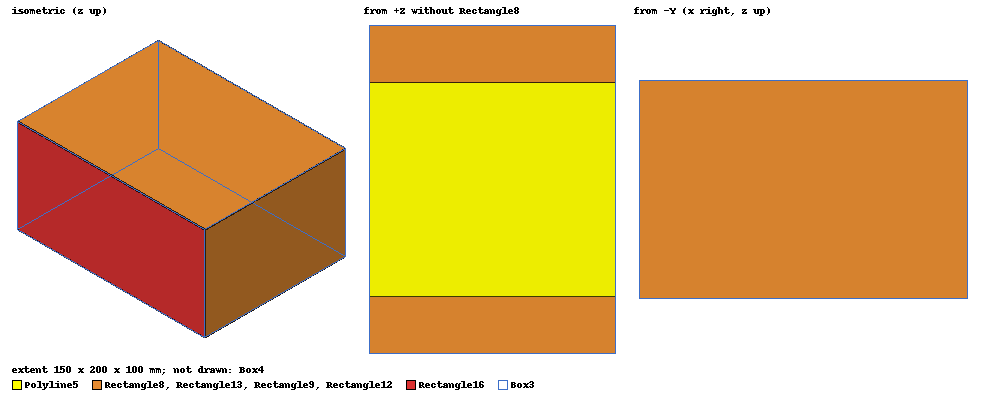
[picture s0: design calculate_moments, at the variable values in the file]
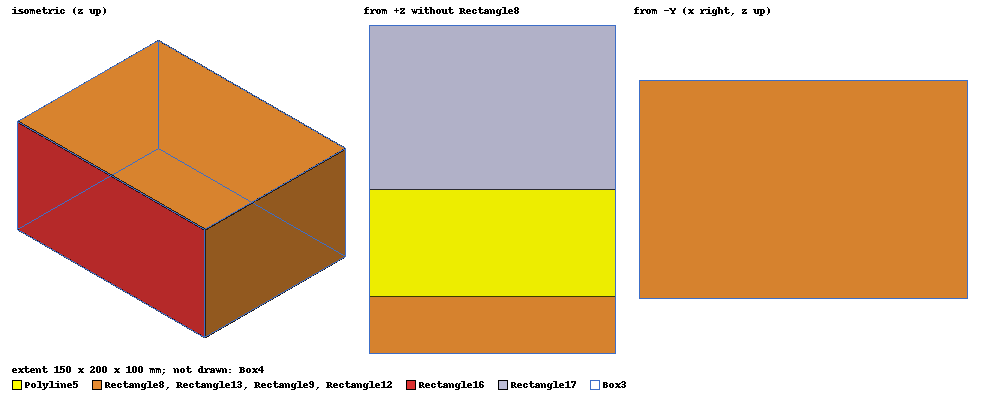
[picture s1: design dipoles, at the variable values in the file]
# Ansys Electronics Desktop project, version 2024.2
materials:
  copper: permeability=0.999991 conductivity=58000000
  pec: conductivity=1e+30
  vacuum: permittivity=1

design inverted_F_antenna (HFSS, HFSS Terminal Network, model units mm)
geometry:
  Rectangle7 = rectangle(corner=(-45mm, 0mm, 0mm), z_size=-50mm, x_size=95mm)
  Rectangle8 = rectangle(corner=(75mm, 100mm, 0mm), x_size=-150mm, y_size=-200mm)
  Rectangle9 = rectangle(corner=(75mm, 100mm, -100mm), z_size=100mm, x_size=-150mm)
  Rectangle10 = rectangle(corner=(-75mm, 100mm, -100mm), y_size=-200mm, z_size=100mm)
  Rectangle11 = rectangle(corner=(75mm, 100mm, 0mm), y_size=-200mm, z_size=-100mm)
  Rectangle12 = rectangle(corner=(75mm, -100mm, -100mm), z_size=100mm, x_size=-150mm)
  Rectangle13 = rectangle(corner=(75mm, 100mm, -100mm), x_size=-150mm, y_size=-200mm)
  coordinate_system RelativeCS1 = origin=(0mm, 0mm, 50mm) x=(1mm, 0mm, 0mm) y=(0mm, 1mm, 0mm)
  Polyline5 [copper] = polyline((0mm, 35mm, 0mm) (0mm, 165mm, 0mm)) in RelativeCS1
  Polyline5.sweep_along_vector((300mm, 0mm, 0mm)) in RelativeCS1
  Polyline5.sweep_along_vector((0mm, 0mm, 1mm)) in RelativeCS1
  Polyline5.move(0mm, 0mm, -0.5mm) in RelativeCS1
  Polyline5.scale(0.5, 1, 1) in RelativeCS1
  Polyline5.move(-75mm, -100mm, -100mm)
  Rectangle14 = rectangle(corner=(75mm, 35mm, 0.5mm), y_size=130mm, z_size=49.5mm) in RelativeCS1
  Rectangle14.move(-75mm, -100mm, -100mm)
  Rectangle15 = rectangle(corner=(0mm, 200mm, -50mm), y_size=-200mm, z_size=100mm) in RelativeCS1
  Rectangle15.move(-75mm, -100mm, -100mm)
  Rectangle16 = rectangle(corner=(150mm, 200mm, -50mm), y_size=-200mm, z_size=100mm) in RelativeCS1
  Rectangle16.move(-75mm, -100mm, -100mm)
  coordinate_system RelativeCS3 = origin=(75mm, 165mm, 50mm) x=(1mm, 0mm, 0mm) y=(0mm, 1mm, 0mm) in RelativeCS1
  coordinate_system RelativeCS4 = origin=(0mm, -65mm, 0mm) x=(1mm, 0mm, 0mm) y=(0mm, 1mm, 0mm) in RelativeCS3
  coordinate_system RelativeCS6 = origin=(-7.9906568mm, -0.2mm, -4.9954624mm) x=(1mm, 0mm, 0mm) y=(0mm, 1mm, 0mm) in RelativeCS4
  Polyline6 = polyline(xyz in mm: (0, 0, 2.6607784) (-0.0011431925, 0, 3.9358706) (-0.0011431925, 0.1, 3.9358706) (0, 0.1, 2.6607784) (0, 0, 2.6607784), closed, covered) in RelativeCS6
  coordinate_system RelativeCS9 = origin=(-75mm, 100mm, -100mm) x=(1mm, 0mm, 0mm) y=(0mm, 1mm, 0mm)
  coordinate_system RelativeCS10 = origin=(0mm, 0mm, -60mm) x=(1mm, 0mm, 0mm) y=(0mm, 1mm, 0mm) in RelativeCS9
  Box4 [vacuum] = box(corner=(0mm, 0mm, 0mm), size=(150mm, -200mm, 220mm)) in RelativeCS10
  Box4.scale(1, 1.5, 1) in RelativeCS10
  Box4.move(0mm, 50mm, 0mm) in RelativeCS10
  coordinate_system RelativeCS11 = origin=(150mm, 0mm, 60mm) x=(1mm, 0mm, 0mm) y=(0mm, 1mm, 0mm) in RelativeCS10
  coordinate_system RelativeCS12 = origin=(0mm, -35mm, 50.5mm) x=(1mm, 0mm, 0mm) y=(0mm, 1mm, 0mm) in RelativeCS11
  Polyline7 = polyline((0mm, -65mm, 0mm) (0mm, -65mm, 49.5mm)) in RelativeCS12
  Polyline7_1 = Polyline7.duplicate_along_line(step=(-150mm, 0mm, 0mm), total=2) in RelativeCS12
  coordinate_system RelativeCS13 = origin=(-75mm, 100mm, -100mm) x=(1mm, 0mm, 0mm) y=(0mm, 1mm, 0mm)
  coordinate_system RelativeCS14 = origin=(0mm, 0mm, -60mm) x=(1mm, 0mm, 0mm) y=(0mm, 1mm, 0mm) in RelativeCS13
  Cylinder4 = cylinder(axis=Z, base_centre=(75mm, -165.1mm, 159.95mm), radius=0.14142136mm, height=0.05mm)
  Cylinder4.move(0.041421356mm, 65.1mm, 0mm)
  Cylinder4.move(-0.041421356mm, -0.24142136mm, 0mm)
  coordinate_system RelativeCS16 = origin=(235mm, 130mm, 0mm) x=(1mm, 0mm, 0mm) y=(0mm, 1mm, 0mm)
  coordinate_system RelativeCS15 = origin=(-85mm, -165mm, 110.5mm) x=(1mm, 0mm, 0mm) y=(0mm, 1mm, 0mm) in RelativeCS16
  Cylinder4.move(1.2414214mm, 0.24142136mm, 2.8421709e-14mm) in RelativeCS15
  Cylinder4.move(-1.2414214mm, 0mm, 0mm) in RelativeCS15
  Cylinder4.move(-75.1mm, 100mm, -160.05mm)
  Cylinder4.move(0.1mm, 0mm, 0.05mm)
  Cylinder5 = cylinder(axis=Z, base_centre=(1mm, 0mm, -0.05mm), radius=0.1mm, height=0.05mm)
  Cylinder6 = cylinder(axis=Z, base_centre=(1mm, 0mm, -0.05mm), radius=0.1mm, height=-1.35mm)
  Cylinder6_1 [copper] = Cylinder6.duplicate_along_line(step=(-1mm, 0mm, -5.4033167e-14mm), total=2)
  coordinate_system RelativeCS17 = origin=(0mm, 0mm, -1.4mm) x=(1mm, 0mm, 0mm) y=(0mm, 1mm, 0mm)
  Cylinder7 = cylinder(axis=X, base_centre=(-0.1mm, 0mm, 0mm), radius=0.1mm, height=3.7mm) in RelativeCS17
  Cylinder6_1.unite(Cylinder6, Cylinder7, Cylinder4, Cylinder5)
  coordinate_system RelativeCS18 = origin=(1mm, 0mm, -0.15mm) x=(1mm, 0mm, 0mm) y=(0mm, 1mm, 0mm) in RelativeCS17
  coordinate_system RelativeCS19 = origin=(-1mm, 0mm, 1.55mm) x=(1mm, 0mm, 0mm) y=(0mm, 1mm, 0mm) in RelativeCS18
  Circle1 = circle(normal=Z, centre=(1mm, 0mm, -1.55mm), radius=0.2mm) in RelativeCS19
  Rectangle8.subtract(Circle1)
  Circle2 = circle(normal=Z, centre=(1mm, 0mm, -1.55mm), radius=0.2mm) in RelativeCS19
  Rectangle8.subtract(Circle2)
  Cylinder8 = cylinder(axis=Z, base_centre=(1mm, 0mm, 0mm), radius=0.1mm, height=0.1mm) in RelativeCS19
  Rectangle8.subtract(Cylinder8)
  Cylinder9 = cylinder(axis=Z, base_centre=(1mm, 0mm, 0mm), radius=0.2mm, height=4.5mm) in RelativeCS19
  Rectangle8.subtract(Cylinder9)
  Circle3 = circle(normal=Z, centre=(1mm, 0mm, 0mm), radius=0.1mm) in RelativeCS19
  Circle4 = circle(normal=Z, centre=(1mm, 0mm, 0mm), radius=0.2mm) in RelativeCS19
  Circle4.subtract(Circle3)
  pecCap1 [pec] = object_from(Circle4.edge(at (0.8, 0, 0)))
  pecCap1.thicken(0.05mm)
  point Point1 = (-75mm, 0mm, -24.75mm) in RelativeCS19
  coordinate_system RelativeCS20 = origin=(-4.8mm, 0mm, 0mm) x=(1mm, 0mm, 0mm) y=(0mm, 1mm, 0mm) in RelativeCS19
  coordinate_system RelativeCS21 = origin=(4.8mm, 0mm, 0mm) x=(1mm, 0mm, 0mm) y=(0mm, 1mm, 0mm) in RelativeCS20
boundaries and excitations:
  PerfE1: Perfect E Objects=[Rectangle13, Rectangle12, Rectangle8, Rectangle9]
  Rad1: Radiation Objects=Box4
  1: Wave Port Objects=Rectangle15 WavePortType=Modal NumModes=2 Modes{Mode1{IntLine{(-75, 0, -49.5) -> (-75, 0, 0)} CharImp=Zpi} Mode2{IntLine{(-75, -65, -50) -> (-75, -100, -50)} CharImp=Zpi}}
  2: Wave Port Objects=Rectangle16 WavePortType=Modal NumModes=2 Modes{Mode1{IntLine{(75, 0, -49.5) -> (75, 0, 0)} CharImp=Zpi} Mode2{IntLine{(75, -65, -50) -> (75, -100, -50)} CharImp=Zpi}}
  3: Wave Port Objects=Circle4 WavePortType=Modal NumModes=1 Modes{Mode1{IntLine{(1.1, 0, 0) -> (1.2, 0, 0)} CharImp=Zpi}}
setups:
  550MHz: HfssDrivenAuto AutoSolverSetting=Balanced Type=Interpolating
    sweep Sweep: 0GHz to 1GHz, 501 points;
  760MHz: HfssDriven Frequency=760MHz MaxDeltaS=0.02 MaximumPasses=6 MinimumPasses=1 MinimumConvergedPasses=1 PercentRefinement=30 BasisOrder=1 PortAccuracy=2 DrivenSolverType="Direct Solver"
    sweep Sweep: 0MHz to 1000MHz, 501 points; Type=Interpolating SaveFields InterpTolerance=0.5 InterpMaxSolns=250 MinSolvedFreq=0.01GHz PassivityErrorTolerance=0.0001
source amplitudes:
  1:1, 2:1: 0W 0deg
  1:2, 2:2: 0V 0deg
  3:1: (10000000*0.85) W 0deg
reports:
  Antenna coupling waveport 1: dB(St(3,1:1)), dB(St(3,1:2)) vs Freq on 760MHz : Sweep; markers MX1 at x=5.4979447e+08
  Antenna coupling waveport 2: dB(St(3,2:1)), dB(St(3,2:2)) vs Freq on 550MHz : Sweep; markers m1 at 0.74GHz, m2 at 0.748GHz, MX1 at x=5.498366e+08

design calculate_moments (HFSS, HFSS Terminal Network, model units mm)
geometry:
  coordinate_system RelativeCS8 = origin=(8.1906568mm, 0.2mm, 0.04546245mm) x=(1mm, 0mm, 0mm) y=(0mm, 1mm, 0mm)
  Rectangle7 = rectangle(corner=(-45mm, 0mm, 0mm), z_size=-50mm, x_size=95mm) in RelativeCS8
  Rectangle8 = rectangle(corner=(75mm, 100mm, 0mm), x_size=-150mm, y_size=-200mm) in RelativeCS8
  Rectangle9 = rectangle(corner=(75mm, 100mm, -100mm), z_size=100mm, x_size=-150mm) in RelativeCS8
  Rectangle10 = rectangle(corner=(-75mm, 100mm, -100mm), y_size=-200mm, z_size=100mm) in RelativeCS8
  Rectangle11 = rectangle(corner=(75mm, 100mm, 0mm), y_size=-200mm, z_size=-100mm) in RelativeCS8
  Rectangle12 = rectangle(corner=(75mm, -100mm, -100mm), z_size=100mm, x_size=-150mm) in RelativeCS8
  Rectangle13 = rectangle(corner=(75mm, 100mm, -100mm), x_size=-150mm, y_size=-200mm) in RelativeCS8
  Box3 [vacuum] = box(corner=(0mm, 0mm, 0mm), size=(300mm, 200mm, 100mm)) in RelativeCS8
  coordinate_system RelativeCS1 = origin=(0mm, 0mm, 50mm) x=(1mm, 0mm, 0mm) y=(0mm, 1mm, 0mm) in RelativeCS8
  Box3.scale(0.5, 1, 1) in RelativeCS1
  Polyline5 [copper] = polyline((0mm, 35mm, 0mm) (0mm, 165mm, 0mm)) in RelativeCS1
  Polyline5.sweep_along_vector((300mm, 0mm, 0mm)) in RelativeCS1
  Polyline5.sweep_along_vector((0mm, 0mm, 1mm)) in RelativeCS1
  Polyline5.move(0mm, 0mm, -0.5mm) in RelativeCS1
  Polyline5.scale(0.5, 1, 1) in RelativeCS1
  Rectangle14 = rectangle(corner=(75mm, 35mm, 0.5mm), y_size=130mm, z_size=49.5mm) in RelativeCS1
  Rectangle15 = rectangle(corner=(0mm, 200mm, -50mm), y_size=-200mm, z_size=100mm) in RelativeCS1
  Rectangle16 = rectangle(corner=(150mm, 200mm, -50mm), y_size=-200mm, z_size=100mm) in RelativeCS1
  coordinate_system RelativeCS3 = origin=(75mm, 165mm, 50mm) x=(1mm, 0mm, 0mm) y=(0mm, 1mm, 0mm) in RelativeCS1
  coordinate_system RelativeCS4 = origin=(0mm, -65mm, 0mm) x=(1mm, 0mm, 0mm) y=(0mm, 1mm, 0mm) in RelativeCS3
  coordinate_system RelativeCS6 = origin=(-7.9906568mm, -0.2mm, -4.9954624mm) x=(1mm, 0mm, 0mm) y=(0mm, 1mm, 0mm) in RelativeCS4
  Polyline6 = polyline(xyz in mm: (0, 0, 2.6607784) (-0.0011431925, 0, 3.9358706) (-0.0011431925, 0.1, 3.9358706) (0, 0.1, 2.6607784) (0, 0, 2.6607784), closed, covered) in RelativeCS6
  [Rectangle14, Rectangle15, Rectangle16, Box3, Polyline5].move(-75mm, -100mm, -100mm) in RelativeCS8
  coordinate_system RelativeCS9 = origin=(-75mm, 100mm, -100mm) x=(1mm, 0mm, 0mm) y=(0mm, 1mm, 0mm) in RelativeCS8
  coordinate_system RelativeCS10 = origin=(0mm, 0mm, -60mm) x=(1mm, 0mm, 0mm) y=(0mm, 1mm, 0mm) in RelativeCS9
  Box4 [vacuum] = box(corner=(0mm, 0mm, 0mm), size=(150mm, -200mm, 220mm)) in RelativeCS10
  Box4.scale(1, 1.5, 1) in RelativeCS10
  Box4.move(0mm, 50mm, 0mm) in RelativeCS10
  coordinate_system RelativeCS11 = origin=(150mm, 0mm, 60mm) x=(1mm, 0mm, 0mm) y=(0mm, 1mm, 0mm) in RelativeCS10
  coordinate_system RelativeCS12 = origin=(0mm, -35mm, 50.5mm) x=(1mm, 0mm, 0mm) y=(0mm, 1mm, 0mm) in RelativeCS11
  Polyline7 = polyline((0mm, -65mm, 0mm) (0mm, -65mm, 49.5mm)) in RelativeCS12
  Polyline7_1 = Polyline7.duplicate_along_line(step=(-150mm, 0mm, 0mm), total=2) in RelativeCS12
  point Point1 = (-75mm, -65mm, 24.75mm) in RelativeCS12
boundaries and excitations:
  PerfE1: Perfect E Objects=[Rectangle13, Rectangle12, Rectangle8, Rectangle9]
  Rad1: Radiation Objects=Box4
  1: Wave Port Objects=Rectangle15 WavePortType=Modal NumModes=1 Modes{Mode1{IntLine{(-66.809343, 0.2, -49.45453755) -> (-66.809343, 0.2, 0.04546245)} CharImp=Zpi}}
  2: Wave Port Objects=Rectangle16 WavePortType=Modal NumModes=1 Modes{Mode1{IntLine{(83.190657, 0.2, -49.45453755) -> (83.190657, 0.2, 0.04546245)} CharImp=Zpi}}
  reference conductors: Rectangle8
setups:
  Setup1: HfssDrivenAuto AutoSolverSetting=Balanced Type=Interpolating
    sweep Sweep: 0GHz to 1GHz, 501 points;
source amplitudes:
  1:1: 1V 0deg
  2:1: 0V 0deg
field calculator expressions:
  U_2 = Complex_Constant(9.89491006303791, 0.019771581817983)
  U_1 = Complex_Constant(-1.62457557524812, -9.88575991314487)
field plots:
  Vector_E1: E Field over Rectangle7.face on Setup1 : LastAdaptive at Freq=0.55GHz Phase=0deg
  Vector_H2: H Field over Rectangle7.face on Setup1 : LastAdaptive at Freq=0.55GHz Phase=0deg
  Vector_E2: E Field over Rectangle14.face(at (8.19066, 0.2, -24.7045)) on Setup1 : LastAdaptive at Freq=0.55GHz Phase=0deg
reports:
  Terminal S Parameter Plot 1: dB(St(1,1)) vs Freq on Setup1 : Sweep
  Terminal S Parameter Plot 2: dB(St(2,1)) vs Freq on Setup1 : Sweep

design dipoles (HFSS, HFSS Terminal Network, model units mm)
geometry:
  coordinate_system RelativeCS8 = origin=(8.1906568mm, 0.2mm, 0.04546245mm) x=(1mm, 0mm, 0mm) y=(0mm, 1mm, 0mm)
  Rectangle7 = rectangle(corner=(-45mm, 0mm, 0mm), z_size=-50mm, x_size=95mm) in RelativeCS8
  Rectangle8 = rectangle(corner=(75mm, 100mm, 0mm), x_size=-150mm, y_size=-200mm) in RelativeCS8
  Rectangle9 = rectangle(corner=(75mm, 100mm, -100mm), z_size=100mm, x_size=-150mm) in RelativeCS8
  Rectangle12 = rectangle(corner=(75mm, -100mm, -100mm), z_size=100mm, x_size=-150mm) in RelativeCS8
  Rectangle13 = rectangle(corner=(75mm, 100mm, -100mm), x_size=-150mm, y_size=-200mm) in RelativeCS8
  Box3 [vacuum] = box(corner=(0mm, 0mm, 0mm), size=(300mm, 200mm, 100mm)) in RelativeCS8
  coordinate_system RelativeCS1 = origin=(0mm, 0mm, 50mm) x=(1mm, 0mm, 0mm) y=(0mm, 1mm, 0mm) in RelativeCS8
  Box3.scale(0.5, 1, 1) in RelativeCS1
  Polyline5 [copper] = polyline((0mm, 35mm, 0mm) (0mm, 165mm, 0mm)) in RelativeCS1
  Polyline5.sweep_along_vector((300mm, 0mm, 0mm)) in RelativeCS1
  Polyline5.sweep_along_vector((0mm, 0mm, 1mm)) in RelativeCS1
  Polyline5.move(0mm, 0mm, -0.5mm) in RelativeCS1
  Polyline5.scale(0.5, 1, 1) in RelativeCS1
  Rectangle14 = rectangle(corner=(75mm, 35mm, 0.5mm), y_size=130mm, z_size=49.5mm) in RelativeCS1
  Rectangle15 = rectangle(corner=(0mm, 200mm, -50mm), y_size=-200mm, z_size=100mm) in RelativeCS1
  Rectangle16 = rectangle(corner=(150mm, 200mm, -50mm), y_size=-200mm, z_size=100mm) in RelativeCS1
  coordinate_system RelativeCS3 = origin=(75mm, 165mm, 50mm) x=(1mm, 0mm, 0mm) y=(0mm, 1mm, 0mm) in RelativeCS1
  coordinate_system RelativeCS4 = origin=(0mm, -65mm, 0mm) x=(1mm, 0mm, 0mm) y=(0mm, 1mm, 0mm) in RelativeCS3
  coordinate_system RelativeCS6 = origin=(-7.9906568mm, -0.2mm, -4.9954624mm) x=(1mm, 0mm, 0mm) y=(0mm, 1mm, 0mm) in RelativeCS4
  Polyline6 = polyline(xyz in mm: (0, 0, 2.6607784) (-0.0011431925, 0, 3.9358706) (-0.0011431925, 0.1, 3.9358706) (0, 0.1, 2.6607784) (0, 0, 2.6607784), closed, covered) in RelativeCS6
  [Rectangle14, Rectangle15, Rectangle16, Box3, Polyline5].move(-75mm, -100mm, -100mm) in RelativeCS8
  coordinate_system RelativeCS9 = origin=(-75mm, 100mm, -100mm) x=(1mm, 0mm, 0mm) y=(0mm, 1mm, 0mm) in RelativeCS8
  coordinate_system RelativeCS10 = origin=(0mm, 0mm, -60mm) x=(1mm, 0mm, 0mm) y=(0mm, 1mm, 0mm) in RelativeCS9
  Box4 [vacuum] = box(corner=(0mm, 0mm, 0mm), size=(150mm, -200mm, 220mm)) in RelativeCS10
  Box4.scale(1, 1.5, 1) in RelativeCS10
  Box4.move(0mm, 50mm, 0mm) in RelativeCS10
  coordinate_system RelativeCS11 = origin=(235mm, 130mm, 0mm) x=(1mm, 0mm, 0mm) y=(0mm, 1mm, 0mm) in RelativeCS10
  coordinate_system RelativeCS12 = origin=(-85mm, -165mm, 110.5mm) x=(1mm, 0mm, 0mm) y=(0mm, 1mm, 0mm) in RelativeCS11
  coordinate_system RelativeCS13 = origin=(-75mm, -130mm, 49.5mm) x=(1mm, 0mm, 0mm) y=(0mm, 1mm, 0mm) in RelativeCS12
  coordinate_system RelativeCS14 = origin=(0mm, 65mm, 0mm) x=(1mm, 0mm, 0mm) y=(0mm, 1mm, 0mm) in RelativeCS13
  Polyline7 = polyline((0mm, -65mm, 0mm) (0mm, -65mm, 49.5mm)) in RelativeCS14
  Polyline7_1 = Polyline7.duplicate_along_line(step=(-150mm, 0mm, 0mm), total=2) in RelativeCS14
  [Polyline7, Polyline7_1].move(75mm, 65mm, -49.5mm) in RelativeCS14
  point Point1 = (0mm, 0mm, -24.75mm) in RelativeCS14
  point Point2 = (-66.809343mm, 0.2mm, -24.70453755mm)
  point Point3 = (83.190657mm, 0.2mm, -24.70453755mm)
  Rectangle17 = rectangle(corner=(-66.809343mm, 0.2mm, -24.70453755mm), x_size=150mm, y_size=100mm)
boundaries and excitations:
  PerfE1: Perfect E Objects=[Rectangle13, Rectangle12, Rectangle8, Rectangle9]
  Rad1: Radiation Objects=Box4
  IncHDWave1: Hertzian-Dipole Incident Wave IsCartesian EoX=0 EoY=0 EoZ=1 kX=0 kY=0 kZ=1 OriginX=8.190656807mm OriginY=0.2mm OriginZ="(-24.75+0.04546245) mm" SphereRadius=0.01mm IsElectricDipole=true
  IncHDWave2: Hertzian-Dipole Incident Wave IsCartesian EoX=0 EoY=1 EoZ=0 kX=0 kY=0 kZ=1 OriginX=8.190656807mm OriginY=0.2mm OriginZ="(-24.75+0.04546245) mm" SphereRadius=0.01mm IsElectricDipole=false
  1: Wave Port Objects=Rectangle15 WavePortType=Modal NumModes=1 Modes{Mode1{IntLine{(-66.809343, 0.2, -49.45453755) -> (-66.809343, 0.2, 0.04546245)} CharImp=Zpi}}
  2: Wave Port Objects=Rectangle16 WavePortType=Modal NumModes=1 Modes{Mode1{IntLine{(83.190657, 0.2, -49.45453755) -> (83.190657, 0.2, 0.04546245)} CharImp=Zpi}}
  reference conductors: Rectangle8
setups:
  Setup1: HfssDrivenAuto AutoSolverSetting=Balanced Type=Discrete
    sweep Sweep: point 0.55GHz;
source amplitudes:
  IncHDWave1:1: 0.001099 -124.989deg
  IncHDWave2:1: 3.74584Vm -34.9893deg
  1:1, 2:1: 0W 0deg
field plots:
  Vector_H2: H Field over Rectangle7.face on Setup1 : LastAdaptive at Freq=0.55GHz Phase=0deg
  Vector_E2: E Field over Rectangle7.face on Setup1 : LastAdaptive at Freq=0.55GHz Phase=0deg
  Vector_E1: E Field over Rectangle16.face(at (83.1907, 0.2, -49.9545)) on Setup1 : LastAdaptive at Freq=0.55GHz Phase=0deg
  Vector_H1: H Field over Rectangle17.face on Setup1 : LastAdaptive at Freq=0.55GHz Phase=0deg
  Vector_H3: H Field over Rectangle16.face(at (83.1907, 0.2, -49.9545)) on Setup1 : LastAdaptive at Freq=0.55GHz Phase=0deg
